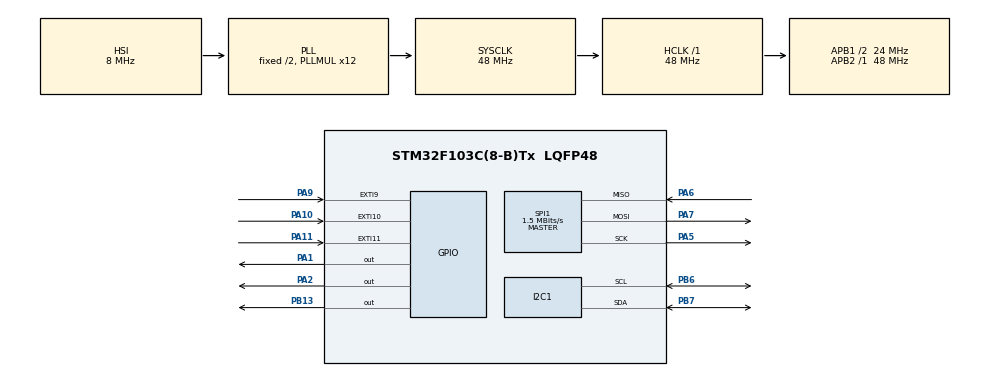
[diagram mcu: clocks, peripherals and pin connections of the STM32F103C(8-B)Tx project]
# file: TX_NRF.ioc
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Mcu.Family=STM32F1
Mcu.Name=STM32F103C(8-B)Tx
Mcu.Package=LQFP48
NVIC.PriorityGroup=NVIC_PRIORITYGROUP_4
PA1.Signal=GPIO_Output
PA10.GPIO_ModeDefaultEXTI=GPIO_MODE_IT_FALLING
PA10.GPIO_PuPd=GPIO_PULLUP
PA10.Signal=GPXTI10
PA11.GPIO_ModeDefaultEXTI=GPIO_MODE_IT_FALLING
PA11.GPIO_PuPd=GPIO_PULLUP
PA11.Signal=GPXTI11
PA13.Mode=Serial_Wire
PA13.Signal=SYS_JTMS-SWDIO
PA14.Mode=Serial_Wire
PA14.Signal=SYS_JTCK-SWCLK
PA2.Signal=GPIO_Output
PA5.Mode=Full_Duplex_Master
PA5.Signal=SPI1_SCK
PA6.Mode=Full_Duplex_Master
PA6.Signal=SPI1_MISO
PA7.Mode=Full_Duplex_Master
PA7.Signal=SPI1_MOSI
PA9.GPIO_ModeDefaultEXTI=GPIO_MODE_IT_FALLING
PA9.GPIO_PuPd=GPIO_PULLUP
PA9.Signal=GPXTI9
PB13.Signal=GPIO_Output
PB6.Mode=I2C
PB6.Signal=I2C1_SCL
PB7.Mode=I2C
PB7.Signal=I2C1_SDA
PD0-OSC_IN.Mode=HSE-External-Oscillator
PD0-OSC_IN.Signal=RCC_OSC_IN
PD1-OSC_OUT.Mode=HSE-External-Oscillator
PD1-OSC_OUT.Signal=RCC_OSC_OUT
ProjectManager.HeapSize=0x200
ProjectManager.StackSize=0x400
ProjectManager.TargetToolchain=MDK-ARM V5
RCC.AHBFreq_Value=48000000
RCC.APB1CLKDivider=RCC_HCLK_DIV2
RCC.APB1Freq_Value=24000000
RCC.APB1TimFreq_Value=48000000
RCC.APB2Freq_Value=48000000
RCC.APB2TimFreq_Value=48000000
RCC.HCLKFreq_Value=48000000
RCC.PLLMUL=RCC_PLL_MUL12
RCC.SYSCLKFreq_VALUE=48000000
RCC.SYSCLKSource=RCC_SYSCLKSOURCE_PLLCLK
RCC.USBFreq_Value=48000000
SPI1.BaudRatePrescaler=SPI_BAUDRATEPRESCALER_32
SPI1.CalculateBaudRate=1.5 MBits/s
SPI1.Direction=SPI_DIRECTION_2LINES
SPI1.Mode=SPI_MODE_MASTER
SPI1.VirtualType=VM_MASTER
board=custom

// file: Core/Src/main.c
/* USER CODE BEGIN Header */
/**
  ******************************************************************************
  * @file           : main.c
  * @brief          : Main program body
  ******************************************************************************
  * @attention
  *
  * Copyright (c) 2024 STMicroelectronics.
  * All rights reserved.
  *
  * This software is licensed under terms that can be found in the LICENSE file
  * in the root directory of this software component.
  * If no LICENSE file comes with this software, it is provided AS-IS.
  *
  ******************************************************************************
  */
/* USER CODE END Header */
#include "main.h"

/* USER CODE BEGIN Includes */
#include "GY521.h"
#include "NRF24L01.h"
/* USER CODE END Includes */

I2C_HandleTypeDef hi2c1;

SPI_HandleTypeDef hspi1;

void SystemClock_Config(void);
static void MX_GPIO_Init(void);
static void MX_SPI1_Init(void);
static void MX_I2C1_Init(void);
/* USER CODE BEGIN PFP */
void calculator_offset_error(void);
/* USER CODE END PFP */

/* USER CODE BEGIN 0 */
uint8_t TxAddress[] = {0xEE,0xDD,0xCC,0xBB,0xAA};

uint8_t accel[6];
uint8_t gyro[6];

int16_t gyro_raw[16];   // gyro_raw[0] is gyro_y_raw, gyro_raw[1] is gyro_z_raw
uint8_t chuottrai[32];
uint8_t chuotphai[32];

int gyro_buffer[3] = {0};
int16_t gyro_offset[3];

uint8_t flag;
int count;

void HAL_GPIO_EXTI_Callback(uint16_t GPIO_Pin)
{
	if (GPIO_Pin == GPIO_PIN_11)
	{
	HAL_GPIO_TogglePin(GPIOB, GPIO_PIN_13);
	flag = 1;
	}
	if (GPIO_Pin == GPIO_PIN_9)
	{
	flag = 2;
	HAL_GPIO_TogglePin(GPIOB, GPIO_PIN_13);
	}

}
/* USER CODE END 0 */

int main(void)
{

  /* MCU Configuration--------------------------------------------------------*/

  /* Reset of all peripherals, Initializes the Flash interface and the Systick. */
  HAL_Init();

  /* Configure the system clock */
  SystemClock_Config();

  /* Initialize all configured peripherals */
  MX_GPIO_Init();
  MX_SPI1_Init();
  MX_I2C1_Init();
  /* USER CODE BEGIN 2 */
  HAL_Delay(300);
  MPU6050_Init();
  HAL_Delay(300);
	calculator_offset_error();
  nrf24_Init();
  nrf24_TxMode(TxAddress, 10);
  HAL_Delay(300);

	chuotphai[4] = 2;
  chuottrai[4] = 1;
  /* USER CODE END 2 */

  /* Infinite loop */
  while (1)
  {

    /* USER CODE BEGIN 3 */
	if (flag == 1) {
		  nrf24_Transmit(chuottrai);
		  HAL_Delay(50);
		  flag = 0;
	}
	if (flag == 2) {
		  nrf24_Transmit(chuotphai);
		  HAL_Delay(50);
		  flag = 0;
	}
	HAL_I2C_Mem_Read(&hi2c1, MPU6050_ADDR, GYRO_XOUT_H_REG, 1, gyro, 6, 1000);

	gyro_raw[0] = ((int16_t)(gyro[2] << 8 | gyro[3]) - gyro_offset[1]);    //gyro_y_raw
	gyro_raw[1] = ((int16_t)(gyro[4] << 8 | gyro[5]) - gyro_offset[2]);    //gyro_z_raw

	if (nrf24_Transmit((uint8_t*)gyro_raw)== 1) {
	HAL_GPIO_TogglePin(GPIOB, GPIO_PIN_13);
	count++;
	}

	//HAL_GPIO_WritePin(GPIOB, GPIO_PIN_13, GPIO_PIN_RESET);
	HAL_Delay(1);
	}
  /* USER CODE END 3 */
}

void SystemClock_Config(void)
{
  RCC_OscInitTypeDef RCC_OscInitStruct = {0};
  RCC_ClkInitTypeDef RCC_ClkInitStruct = {0};

  /** Initializes the RCC Oscillators according to the specified parameters
  * in the RCC_OscInitTypeDef structure.
  */
  RCC_OscInitStruct.OscillatorType = RCC_OSCILLATORTYPE_HSI;
  RCC_OscInitStruct.HSIState = RCC_HSI_ON;
  RCC_OscInitStruct.HSICalibrationValue = RCC_HSICALIBRATION_DEFAULT;
  RCC_OscInitStruct.PLL.PLLState = RCC_PLL_ON;
  RCC_OscInitStruct.PLL.PLLSource = RCC_PLLSOURCE_HSI_DIV2;
  RCC_OscInitStruct.PLL.PLLMUL = RCC_PLL_MUL12;
  if (HAL_RCC_OscConfig(&RCC_OscInitStruct) != HAL_OK)
  {
    Error_Handler();
  }

  /** Initializes the CPU, AHB and APB buses clocks
  */
  RCC_ClkInitStruct.ClockType = RCC_CLOCKTYPE_HCLK|RCC_CLOCKTYPE_SYSCLK
                              |RCC_CLOCKTYPE_PCLK1|RCC_CLOCKTYPE_PCLK2;
  RCC_ClkInitStruct.SYSCLKSource = RCC_SYSCLKSOURCE_PLLCLK;
  RCC_ClkInitStruct.AHBCLKDivider = RCC_SYSCLK_DIV1;
  RCC_ClkInitStruct.APB1CLKDivider = RCC_HCLK_DIV2;
  RCC_ClkInitStruct.APB2CLKDivider = RCC_HCLK_DIV1;

  if (HAL_RCC_ClockConfig(&RCC_ClkInitStruct, FLASH_LATENCY_1) != HAL_OK)
  {
    Error_Handler();
  }
}

static void MX_I2C1_Init(void)
{

  hi2c1.Instance = I2C1;
  hi2c1.Init.ClockSpeed = 100000;
  hi2c1.Init.DutyCycle = I2C_DUTYCYCLE_2;
  hi2c1.Init.OwnAddress1 = 0;
  hi2c1.Init.AddressingMode = I2C_ADDRESSINGMODE_7BIT;
  hi2c1.Init.DualAddressMode = I2C_DUALADDRESS_DISABLE;
  hi2c1.Init.OwnAddress2 = 0;
  hi2c1.Init.GeneralCallMode = I2C_GENERALCALL_DISABLE;
  hi2c1.Init.NoStretchMode = I2C_NOSTRETCH_DISABLE;
  if (HAL_I2C_Init(&hi2c1) != HAL_OK)
  {
    Error_Handler();
  }

}

static void MX_SPI1_Init(void)
{

  /* SPI1 parameter configuration*/
  hspi1.Instance = SPI1;
  hspi1.Init.Mode = SPI_MODE_MASTER;
  hspi1.Init.Direction = SPI_DIRECTION_2LINES;
  hspi1.Init.DataSize = SPI_DATASIZE_8BIT;
  hspi1.Init.CLKPolarity = SPI_POLARITY_LOW;
  hspi1.Init.CLKPhase = SPI_PHASE_1EDGE;
  hspi1.Init.NSS = SPI_NSS_SOFT;
  hspi1.Init.BaudRatePrescaler = SPI_BAUDRATEPRESCALER_32;
  hspi1.Init.FirstBit = SPI_FIRSTBIT_MSB;
  hspi1.Init.TIMode = SPI_TIMODE_DISABLE;
  hspi1.Init.CRCCalculation = SPI_CRCCALCULATION_DISABLE;
  hspi1.Init.CRCPolynomial = 10;
  if (HAL_SPI_Init(&hspi1) != HAL_OK)
  {
    Error_Handler();
  }

}

static void MX_GPIO_Init(void)
{
  GPIO_InitTypeDef GPIO_InitStruct = {0};

  /* GPIO Ports Clock Enable */
  __HAL_RCC_GPIOD_CLK_ENABLE();
  __HAL_RCC_GPIOA_CLK_ENABLE();
  __HAL_RCC_GPIOB_CLK_ENABLE();

  /*Configure GPIO pin Output Level */
  HAL_GPIO_WritePin(GPIOA, GPIO_PIN_1|GPIO_PIN_2, GPIO_PIN_RESET);

  /*Configure GPIO pin Output Level */
  HAL_GPIO_WritePin(GPIOB, GPIO_PIN_13, GPIO_PIN_RESET);

  /*Configure GPIO pins : PA1 PA2 */
  GPIO_InitStruct.Pin = GPIO_PIN_1|GPIO_PIN_2;
  GPIO_InitStruct.Mode = GPIO_MODE_OUTPUT_PP;
  GPIO_InitStruct.Pull = GPIO_NOPULL;
  GPIO_InitStruct.Speed = GPIO_SPEED_FREQ_LOW;
  HAL_GPIO_Init(GPIOA, &GPIO_InitStruct);

  /*Configure GPIO pin : PB13 */
  GPIO_InitStruct.Pin = GPIO_PIN_13;
  GPIO_InitStruct.Mode = GPIO_MODE_OUTPUT_PP;
  GPIO_InitStruct.Pull = GPIO_NOPULL;
  GPIO_InitStruct.Speed = GPIO_SPEED_FREQ_LOW;
  HAL_GPIO_Init(GPIOB, &GPIO_InitStruct);

  /*Configure GPIO pins : PA9 PA10 PA11 */
  GPIO_InitStruct.Pin = GPIO_PIN_9|GPIO_PIN_10|GPIO_PIN_11;
  GPIO_InitStruct.Mode = GPIO_MODE_IT_FALLING;
  GPIO_InitStruct.Pull = GPIO_PULLUP;
  HAL_GPIO_Init(GPIOA, &GPIO_InitStruct);

}

/* USER CODE BEGIN 4 */
void calculator_offset_error(void)
{
	for (int i = 0; i < 100; i++)
	{
		HAL_I2C_Mem_Read(&hi2c1, MPU6050_ADDR, GYRO_XOUT_H_REG, 1, gyro, 6, 1000);

		gyro_buffer[0] += (int16_t)(gyro[0] << 8 | gyro[1]);
		gyro_buffer[1] += (int16_t)(gyro[2] << 8 | gyro[3]);
		gyro_buffer[2] += (int16_t)(gyro[4] << 8 | gyro[5]);
	}
	gyro_offset[0] = gyro_buffer[0]/100;
	gyro_offset[1] = gyro_buffer[1]/100;
	gyro_offset[2] = gyro_buffer[2]/100;
}
/* USER CODE END 4 */

void Error_Handler(void)
{
  __disable_irq();
  while (1)
  {
  }
}
